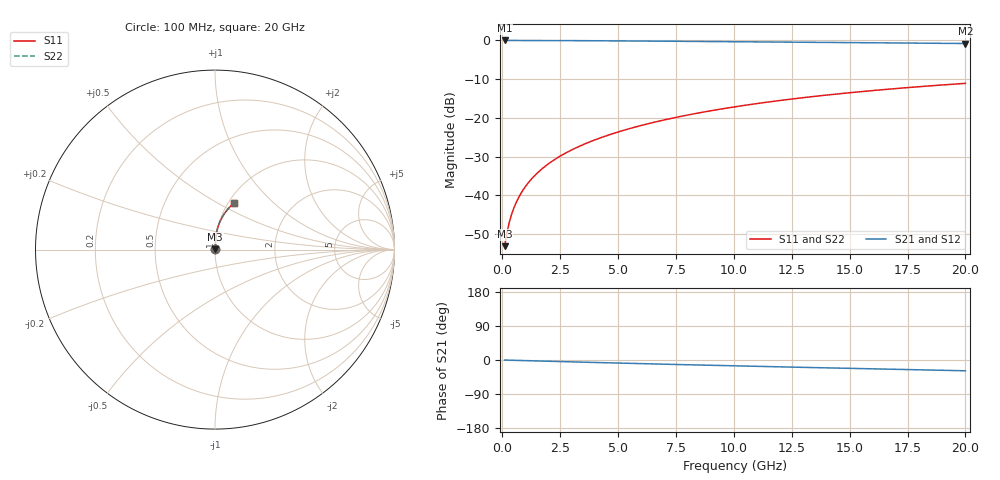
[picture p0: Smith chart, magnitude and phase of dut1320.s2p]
! Touchstone file exported from HFSS 2024.1.0
!  File:  C:/UserFiles/LocalFiles/RDL_TSV_Batchsim/temp_RDL_top_1320_1780365021.aedt
!  Generated:  09:52:26 AM Jun  2, 2026
!  Design:  RDL_top
!  Project:  temp_RDL_top_1320_1780365021
!  Setup:  Setup1
!  Solution:  Sweep
! Variables:
!  dtsv = 10.80580581um
!  hbump = 3um
!  htsv = 98.16um
!  ldown = 100um
!  lrdl = 383.78um
!  p = 40
!  p1 = 49.95um
!  rhole = 1um
!  t = 450um
!  tdown = 3.915915916um
!  trdl = 4.06um
!  wdown = 15.38538539um
!  wrdl = 21.75um
# GHz S MA R 50.000000
! Terminal data exported
! Port[1] = Box2_T1
! Port[2] = Box2_T2
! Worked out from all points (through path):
!   200 points, 100 MHz to 20 GHz, reference 50 ohm
!   highest |S21| = -0.02 dB at 100 MHz (marker M1); lowest = -0.8 dB at 20 GHz (marker M2)
!   group delay of S21, straight-line fit = 3.91 ps
!   lowest |S11| = -53.1 dB at 100 MHz (marker M3), VSWR 1.00, Z = 50.2 + j0.14 ohm
!   |S11| at or under -10 dB: start of sweep to end of sweep
!   |S22| runs from -53.1 to -11.1 dB; largest |S21 - S12| = 3.3e-15
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0.1  0.002219 39.1  0.9983 -0.2  0.9983 -0.2  0.002219 39.1
! Gamma 0 0 0 0
! Port Impedance 50 0 50 0
0.2  0.003292 56.7  0.9982 -0.3  0.9982 -0.3  0.003292 56.7
0.3  0.004479 64.9  0.998 -0.5  0.998 -0.5  0.004479 64.9
0.4  0.005684 69.7  0.9979 -0.7  0.9979 -0.7  0.005684 69.7
0.5  0.006895 72.8  0.9978 -0.8  0.9978 -0.8  0.006895 72.8
0.6  0.008111 75.1  0.9977 -1.0  0.9977 -1.0  0.008111 75.1
0.8  0.01056 78.3  0.9975 -1.3  0.9975 -1.3  0.01056 78.3
1.1  0.01429 81.1  0.9972 -1.8  0.9972 -1.8  0.01429 81.1
1.5  0.01933 83.3  0.9966 -2.5  0.9966 -2.5  0.01933 83.3
1.8  0.02315 84.2  0.996 -3.0  0.996 -3.0  0.02314 84.2
2.1  0.027 84.9  0.9954 -3.5  0.9954 -3.5  0.027 84.9
2.7  0.03479 85.8  0.9938 -4.5  0.9938 -4.5  0.03479 85.8
3.5  0.04539 86.3  0.9914 -5.8  0.9914 -5.8  0.04539 86.3
4.2  0.05485 86.4  0.9888 -6.9  0.9888 -6.9  0.05485 86.3
5  0.06589 86.2  0.9856 -8.1  0.9856 -8.1  0.06588 86.2
5.9  0.07856 85.7  0.9817 -9.5  0.9817 -9.5  0.07855 85.7
6.8  0.09147 85.1  0.9776 -10.8  0.9776 -10.8  0.09146 85.1
8.4  0.1148 83.5  0.9699 -13.1  0.9699 -13.1  0.1148 83.5
10.1  0.14 81.5  0.9616 -15.5  0.9616 -15.5  0.1399 81.5
13.4  0.1885 77.2  0.9452 -20.0  0.9452 -20.0  0.1884 77.1
16.7  0.2352 72.6  0.9285 -24.3  0.9285 -24.3  0.2351 72.5
20  0.2792 68.0  0.9114 -28.4  0.9114 -28.4  0.2791 68.0
